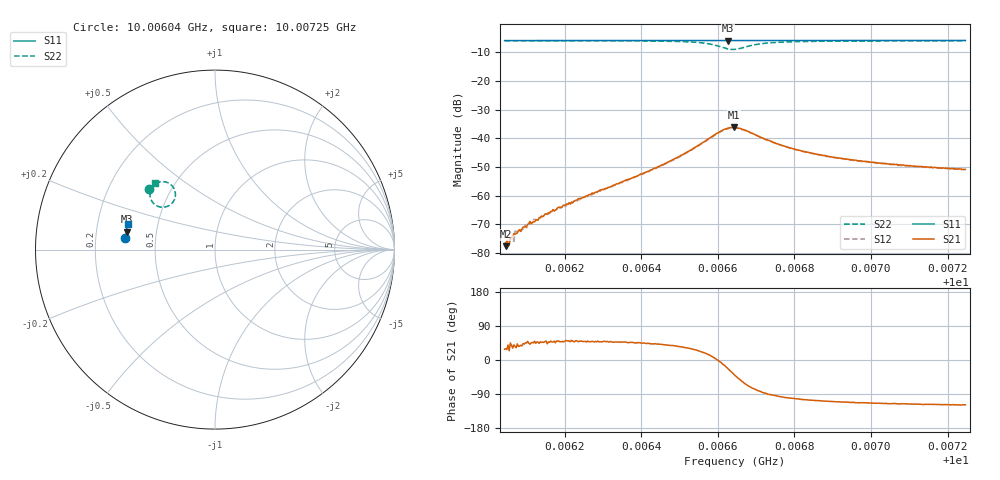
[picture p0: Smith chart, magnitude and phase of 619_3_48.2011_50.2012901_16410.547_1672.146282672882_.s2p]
#  HZ  S  RI  R  50.00
! Rohde & Schwarz Vector Network Analyzer
! Rohde-Schwarz,ZNB20-2Port,1311601062101988,3.16
! Created: UTC 3/20/2024, 12:03:50 PM
! freq[Hz]  re:S11  im:S11  re:S21  im:S21  re:S12  im:S12  re:S22  im:S22
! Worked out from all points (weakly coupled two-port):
!   401 points, 10.00604 GHz to 10.00725 GHz, reference 50 ohm
!   highest |S21| = -36.23 dB at 10.00664 GHz (marker M1); lowest = -77.6 dB at 10.00605 GHz (marker M2)
!   lowest |S11| = -6.0 dB at 10.00663 GHz (marker M3), VSWR 3.02, Z = 16.7 + j4.5 ohm
!   |S11| at or under -10 dB: nowhere
!   |S22| runs from -9.1 to -6.0 dB; largest |S21 - S12| = 0.0011
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1.0006043e10  -0.4991 0.0632  0.000121 6.55e-05  0.000139 6.59e-05  -0.3657 0.3387
1.0006046e10  -0.4991 0.0634  0.000114 6.61e-05  0.000131 7.15e-05  -0.3656 0.339
1.0006049e10  -0.4992 0.0636  0.000148 7.85e-05  8.5e-05 0.000107  -0.3656 0.3392
1.0006061e10  -0.4989 0.0646  0.000143 0.000116  0.000139 0.000102  -0.3647 0.34
1.0006076e10  -0.4988 0.0653  0.000164 0.00015  0.000169 0.000157  -0.3638 0.341
1.0006109e10  -0.4986 0.0676  0.000266 0.000238  0.000232 0.00024  -0.3619 0.3433
1.0006124e10  -0.4986 0.0685  0.000268 0.000259  0.000257 0.000285  -0.3608 0.3444
1.0006163e10  -0.4983 0.0711  0.000343 0.000405  0.000309 0.000401  -0.3581 0.3472
1.0006245e10  -0.4976 0.0764  0.00059 0.000701  0.000548 0.000718  -0.3516 0.3534
1.0006446e10  -0.4956 0.0896  0.0024 0.00217  0.00223 0.00222  -0.3224 0.3727
1.0006503e10  -0.4949 0.0935  0.00413 0.00287  0.00387 0.00296  -0.3024 0.3781
1.0006567e10  -0.4939 0.0976  0.00849 0.00281  0.00813 0.00312  -0.2586 0.3706
1.0006603e10  -0.4929 0.0997  0.0127 -0.000607  0.0125 0.00032  -0.2249 0.332
1.0006627e10  -0.4924 0.1007  0.0139 -0.00595  0.0138 -0.00496  -0.2252 0.281
1.0006642e10  -0.4925 0.1013  0.0122 -0.00944  0.0124 -0.00832  -0.2467 0.2518
1.0006645e10  -0.4924 0.1013  0.0116 -0.00998  0.0121 -0.00908  -0.2526 0.2475
1.0006672e10  -0.4926 0.1026  0.00618 -0.0123  0.00688 -0.0117  -0.3081 0.238
1.0006711e10  -0.4927 0.1053  0.00135 -0.0104  0.00178 -0.0103  -0.3507 0.2676
1.0006777e10  -0.4923 0.1097  -0.00115 -0.00708  -0.00076 -0.00703  -0.3626 0.3083
1.0006847e10  -0.4915 0.1143  -0.00153 -0.00528  -0.00127 -0.00524  -0.3592 0.3299
1.0007048e10  -0.4889 0.1272  -0.00153 -0.00323  -0.00133 -0.00325  -0.3447 0.358
1.0007247e10  -0.4857 0.1399  -0.00137 -0.00253  -0.00122 -0.00256  -0.3327 0.373
